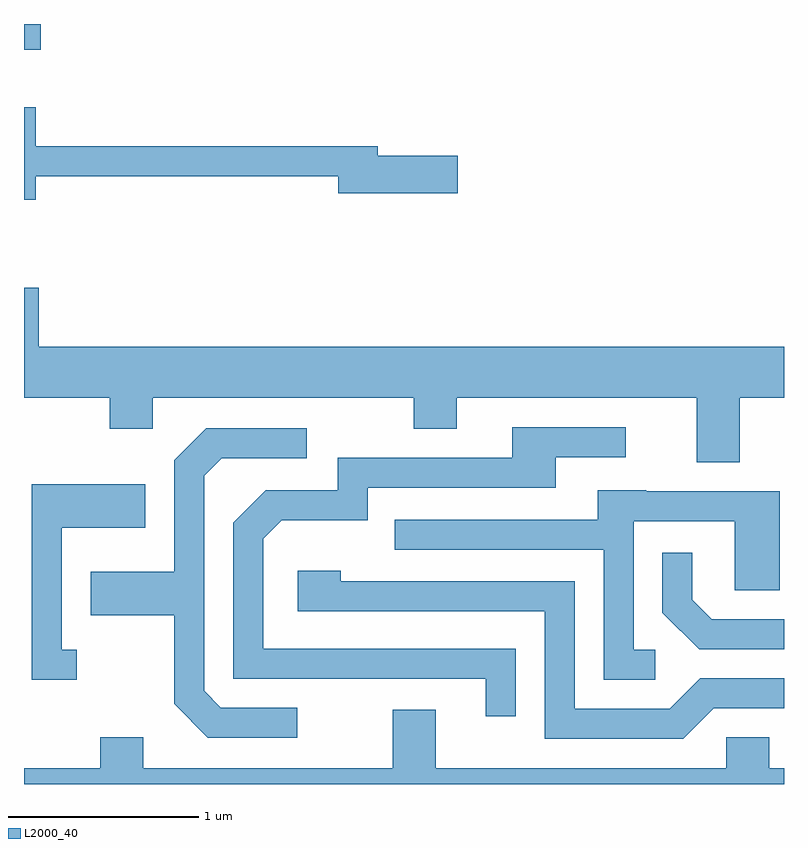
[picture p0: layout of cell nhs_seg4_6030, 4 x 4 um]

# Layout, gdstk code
import gdstk
lib = gdstk.Library(unit=1e-6, precision=1e-09)
def R(c, l, rs):  # rectangles x0, y0, x1, y1
    for r in rs: c.add(gdstk.rectangle(r[:2], r[2:], *l))
def P(c, l, *ps):  # polygons
    for p in ps: c.add(gdstk.Polygon(p, *l))
L2000_40 = (2000, 40)

nhs_seg4_6030 = lib.new_cell('nhs_seg4_6030')
R(nhs_seg4_6030, L2000_40, [(361.611,1349.846,361.698,1349.982)])
P(nhs_seg4_6030, L2000_40, [(361.674,1349.181),(363.266,1349.181),(363.266,1349.091),(363.894,1349.091),(363.894,1349.289),(363.474,1349.289),(363.474,1349.339),(361.674,1349.339),(361.674,1349.544),(361.611,1349.544),(361.611,1349.056),(361.674,1349.056)],
  [(365.379,1348.016),(365.611,1348.016),(365.611,1348.284),(361.689,1348.284),(361.689,1348.594),(361.611,1348.594),(361.611,1348.016),(362.061,1348.016),(362.061,1347.851),(362.289,1347.851),(362.289,1348.016),(363.661,1348.016),(363.661,1347.851),(363.889,1347.851),(363.889,1348.016),(365.151,1348.016),(365.151,1347.676),(365.379,1347.676)],
  [(364.199,1346.694),(362.869,1346.694),(362.869,1347.274),(362.967,1347.371),(363.419,1347.371),(363.419,1347.541),(364.409,1347.541),(364.409,1347.701),(364.778,1347.701),(364.778,1347.859),(364.181,1347.859),(364.181,1347.699),(363.261,1347.699),(363.261,1347.529),(362.884,1347.529),(362.711,1347.357),(362.711,1346.536),(364.041,1346.536),(364.041,1346.338),(364.199,1346.338)],
  [(363.048,1346.384),(362.647,1346.384),(362.559,1346.472),(362.559,1347.604),(362.652,1347.696),(363.098,1347.696),(363.098,1347.854),(362.569,1347.854),(362.401,1347.687),(362.401,1347.099),(361.961,1347.099),(361.961,1346.871),(362.401,1346.871),(362.401,1346.404),(362.579,1346.226),(363.048,1346.226)],
  [(361.888,1346.689),(361.809,1346.689),(361.809,1347.331),(362.249,1347.331),(362.249,1347.559),(361.651,1347.559),(361.651,1346.531),(361.888,1346.531)],
  [(364.933,1346.689),(364.819,1346.689),(364.819,1347.366),(365.351,1347.366),(365.351,1347.001),(365.589,1347.001),(365.589,1347.524),(364.885,1347.524),(364.885,1347.529),(364.631,1347.529),(364.631,1347.374),(363.563,1347.374),(363.563,1347.216),(364.661,1347.216),(364.661,1346.531),(364.933,1346.531)],
  [(365.611,1346.849),(365.232,1346.849),(365.129,1346.952),(365.129,1347.198),(364.971,1347.198),(364.971,1346.884),(365.164,1346.691),(365.611,1346.691)],
  [(365.242,1346.381),(365.611,1346.381),(365.611,1346.539),(365.169,1346.539),(365.009,1346.379),(364.509,1346.379),(364.509,1347.049),(363.279,1347.049),(363.279,1347.104),(363.051,1347.104),(363.051,1346.891),(364.351,1346.891),(364.351,1346.221),(365.082,1346.221)],
  [(365.611,1346.064),(365.534,1346.064),(365.534,1346.229),(365.306,1346.229),(365.306,1346.064),(363.779,1346.064),(363.779,1346.374),(363.551,1346.374),(363.551,1346.064),(362.239,1346.064),(362.239,1346.229),(362.011,1346.229),(362.011,1346.064),(361.611,1346.064),(361.611,1345.982),(365.611,1345.982)])

lib.write_gds('nhs_seg4_6030.gds')
